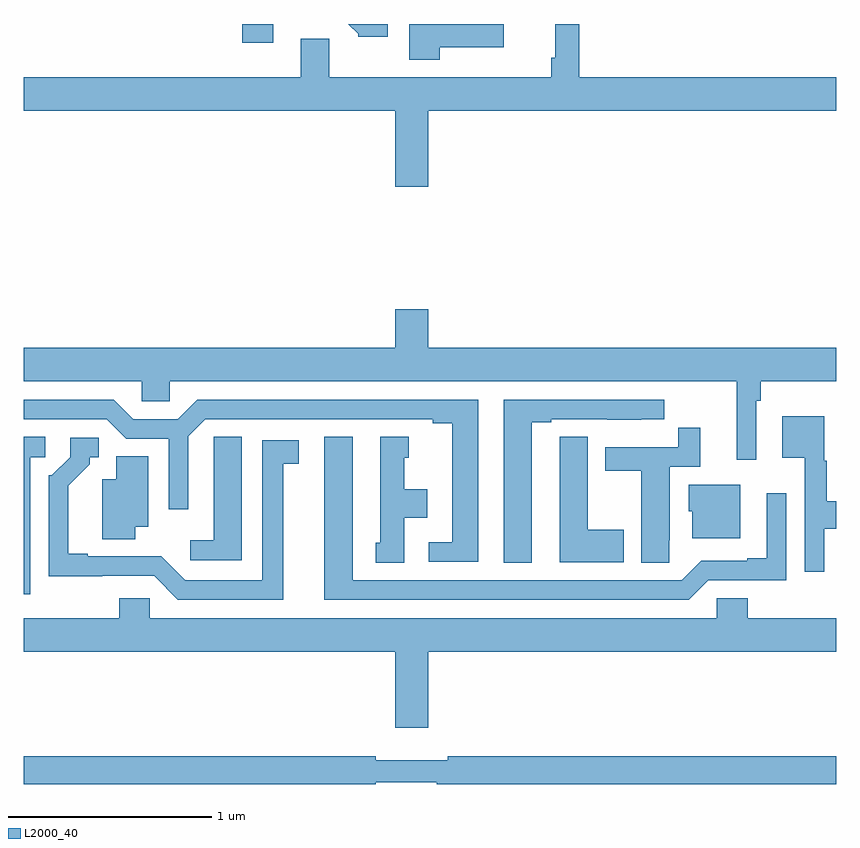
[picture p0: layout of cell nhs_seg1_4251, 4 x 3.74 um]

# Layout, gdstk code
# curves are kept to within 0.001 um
import gdstk
lib = gdstk.Library(unit=1e-6, precision=1e-09)
def R(c, l, rs):  # rectangles x0, y0, x1, y1
    for r in rs: c.add(gdstk.rectangle(r[:2], r[2:], *l))
def P(c, l, *ps):  # polygons
    for p in ps: c.add(gdstk.Polygon(p, *l))
L2000_40 = (2000, 40)

nhs_seg1_4251 = lib.new_cell('nhs_seg1_4251')
R(nhs_seg1_4251, L2000_40, [(344.075,512.106,344.227,512.199)])
P(nhs_seg1_4251, L2000_40, [(344.791,512.199),(344.597,512.199),(344.646,512.15),(344.646,512.135),(344.791,512.135)],
  [(345.047,512.084),(345.364,512.084),(345.364,512.199),(344.898,512.199),(344.898,512.022),(345.047,512.022)],
  [(344.992,511.772),(347,511.772),(347,511.936),(345.734,511.936),(345.734,512.199),(345.616,512.199),(345.616,512.032),(345.598,512.032),(345.598,511.936),(344.503,511.936),(344.503,512.126),(344.363,512.126),(344.363,511.936),(343,511.936),(343,511.772),(344.828,511.772),(344.828,511.398),(344.992,511.398)],
  [(346.511,510.054),(346.608,510.054),(346.608,510.344),(346.628,510.344),(346.628,510.44),(347,510.44),(347,510.604),(344.992,510.604),(344.992,510.793),(344.828,510.793),(344.828,510.604),(343,510.604),(343,510.44),(343.581,510.44),(343.581,510.342),(343.719,510.342),(343.719,510.44),(346.511,510.44)],
  [(345.502,510.237),(345.598,510.237),(345.598,510.252),(345.874,510.252),(345.874,510.251),(346.04,510.251),(346.04,510.252),(346.153,510.252),(346.153,510.348),(345.362,510.348),(345.362,509.545),(345.502,509.545)],
  [(345.238,510.348),(343.853,510.348),(343.757,510.252),(343.539,510.252),(343.443,510.348),(343,510.348),(343,510.252),(343.407,510.252),(343.503,510.156),(343.713,510.156),(343.713,509.808),(343.809,509.808),(343.809,510.168),(343.893,510.252),(345.014,510.252),(345.014,510.232),(345.11,510.232),(345.11,509.646),(344.994,509.646),(344.994,509.55),(345.238,509.55)],
  [(346.942,509.714),(347,509.714),(347,509.849),(346.954,509.849),(346.954,510.048),(346.942,510.048),(346.942,510.268),(346.736,510.268),(346.736,510.062),(346.845,510.062),(346.845,509.502),(346.942,509.502)],
  [(346.179,509.656),(346.18,509.656),(346.18,510.018),(346.331,510.018),(346.331,510.211),(346.222,510.211),(346.222,510.114),(345.863,510.114),(345.863,509.998),(346.04,509.998),(346.04,509.545),(346.179,509.545)],
  [(344.074,510.167),(343.935,510.167),(343.935,510.059),(343.934,510.059),(343.934,509.656),(343.818,509.656),(343.818,509.559),(344.074,509.559)],
  [(343.032,510.066),(343.105,510.066),(343.105,510.167),(343,510.167),(343,509.391),(343.032,509.391)],
  [(345.955,509.709),(345.778,509.709),(345.778,510.167),(345.639,510.167),(345.639,510.059),(345.638,510.059),(345.638,509.549),(345.955,509.549)],
  [(344.872,509.768),(344.986,509.768),(344.986,509.908),(344.872,509.908),(344.872,510.063),(344.896,510.063),(344.896,510.166),(344.756,510.166),(344.756,509.643),(344.732,509.643),(344.732,509.545),(344.872,509.545)],
  [(346.371,509.46),(346.755,509.46),(346.755,509.887),(346.658,509.887),(346.658,509.569),(346.562,509.569),(346.562,509.556),(346.335,509.556),(346.239,509.46),(344.62,509.46),(344.62,510.166),(344.48,510.166),(344.48,509.364),(346.275,509.364)],
  [(344.278,510.034),(344.353,510.034),(344.353,510.15),(344.174,510.15),(344.174,509.46),(343.794,509.46),(343.676,509.578),(343.315,509.577),(343.315,509.59),(343.219,509.59),(343.219,509.926),(343.324,510.031),(343.324,510.066),(343.369,510.066),(343.369,510.162),(343.227,510.162),(343.227,510.066),(343.137,509.976),(343.122,509.976),(343.122,509.48),(343.641,509.481),(343.758,509.364),(344.278,509.364)],
  [(343.549,509.723),(343.612,509.723),(343.612,510.071),(343.454,510.071),(343.454,509.956),(343.385,509.956),(343.385,509.662),(343.549,509.662)],
  [(346.528,509.929),(346.274,509.929),(346.274,509.799),(346.292,509.799),(346.292,509.666),(346.528,509.666)],
  [(344.992,509.108),(347,509.108),(347,509.272),(346.565,509.272),(346.565,509.37),(346.413,509.37),(346.413,509.272),(343.62,509.272),(343.62,509.37),(343.469,509.37),(343.469,509.272),(343,509.272),(343,509.108),(344.828,509.108),(344.828,508.734),(344.992,508.734)],
  [(344.734,508.464),(345.034,508.464),(345.034,508.456),(347,508.456),(347,508.592),(345.088,508.592),(345.088,508.573),(344.732,508.573),(344.732,508.592),(343,508.592),(343,508.456),(344.734,508.456)])

lib.write_gds('nhs_seg1_4251.gds')
